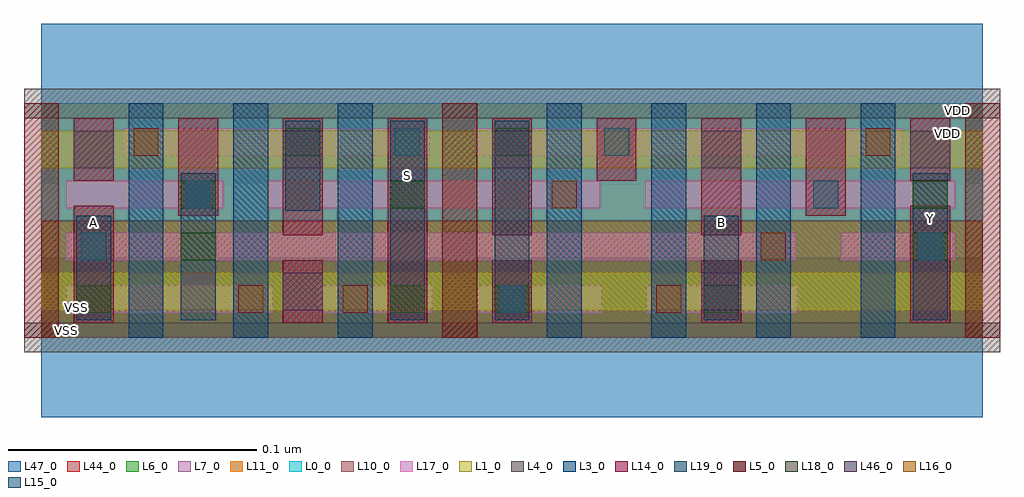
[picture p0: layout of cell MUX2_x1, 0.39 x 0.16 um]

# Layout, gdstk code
import gdstk
lib = gdstk.Library(unit=1e-6, precision=5e-10)
def R(c, l, rs):  # rectangles x0, y0, x1, y1
    for r in rs: c.add(gdstk.rectangle(r[:2], r[2:], *l))
def A(c, l, x, y, w, h, nx, ny, dx, dy):  # array of equal rectangles
    R(c, l, [(x+i*dx, y+j*dy, x+i*dx+w, y+j*dy+h) for i in range(nx) for j in range(ny)])
L0_0 = (0, 0)
L1_0 = (1, 0)
L3_0 = (3, 0)
L4_0 = (4, 0)
L5_0 = (5, 0)
L6_0 = (6, 0)
L7_0 = (7, 0)
L10_0 = (10, 0)
L11_0 = (11, 0)
L14_0 = (14, 0)
L15_0 = (15, 0)
L16_0 = (16, 0)
L17_0 = (17, 0)
L18_0 = (18, 0)
L19_0 = (19, 0)
L44_0 = (44, 0)
L46_0 = (46, 0)
L47_0 = (47, 0)

mux2_x1 = lib.new_cell('MUX2_x1')
R(mux2_x1, L0_0, [(0,0.047,0.378,0.094)])
R(mux2_x1, L1_0, [(0,0.011,0.378,0.026), (0,0.068,0.378,0.083)])
A(mux2_x1, L3_0, 0.035, 0, 0.014, 0.094, 3, 1, 0.042, 0)
A(mux2_x1, L3_0, 0.203, 0, 0.014, 0.094, 4, 1, 0.042, 0)
R(mux2_x1, L4_0, [(-0.007,-0.006,0.385,0.006), (-0.007,0.088,0.385,0.1)])
R(mux2_x1, L5_0, [(-0.007,0,0.007,0.094), (0.161,0,0.175,0.094), (0.371,0,0.385,0.094)])
R(mux2_x1, L6_0, [(0,0,0.378,0.047)])
R(mux2_x1, L7_0, [(0,0.047,0.378,0.094)])
R(mux2_x1, L10_0, [(0,0,0.378,0.047)])
R(mux2_x1, L11_0, [(0,0.047,0.378,0.094)])
A(mux2_x1, L14_0, 0.097, 0.006, 0.016, 0.025, 3, 1, 0.084, 0)
A(mux2_x1, L14_0, 0.097, 0.041, 0.016, 0.047, 3, 1, 0.084, 0)
R(mux2_x1, L14_0, [(0.013,0.006,0.029,0.053), (0.139,0.006,0.155,0.088), (0.349,0.006,0.365,0.053), (0.055,0.049,0.071,0.088), (0.307,0.049,0.323,0.088), (0.013,0.063,0.029,0.088), (0.223,0.063,0.239,0.088), (0.349,0.063,0.365,0.088)])
R(mux2_x1, L15_0, [(0.184,0.01,0.194,0.021), (0.016,0.031,0.026,0.042), (0.352,0.031,0.362,0.042), (0.058,0.052,0.068,0.063), (0.31,0.052,0.32,0.063), (0.142,0.073,0.152,0.084), (0.226,0.073,0.236,0.084)])
R(mux2_x1, L16_0, [(0.079,0.01,0.089,0.021), (0.121,0.01,0.131,0.021), (0.247,0.01,0.257,0.021), (0.289,0.031,0.299,0.042), (0.205,0.052,0.215,0.063), (0.037,0.073,0.047,0.084), (0.331,0.073,0.341,0.084)])
R(mux2_x1, L17_0, [(0.01,0.01,0.093,0.021), (0.111,0.01,0.157,0.021), (0.175,0.01,0.225,0.021), (0.243,0.01,0.3035,0.021), (0.01,0.031,0.2255,0.042), (0.01,0.031,0.303,0.042), (0.321,0.031,0.367,0.042), (0.01,0.052,0.073,0.063), (0.091,0.052,0.2245,0.063), (0.2425,0.052,0.367,0.063), (0.033,0.073,0.0935,0.084), (0.0905,0.073,0.156,0.084), (0.174,0.073,0.321,0.084), (0.321,0.073,0.346,0.084)])
R(mux2_x1, L18_0, [(0.014,0.01,0.028,0.021), (0.14,0.01,0.154,0.021), (0.182,0.01,0.196,0.021), (0.266,0.01,0.28,0.021), (0.056,0.031,0.07,0.042), (0.056,0.031,0.07,0.042), (0.35,0.031,0.364,0.042), (0.056,0.052,0.07,0.063), (0.14,0.052,0.154,0.063), (0.35,0.052,0.364,0.063), (0.098,0.073,0.112,0.084), (0.182,0.073,0.196,0.084)])
R(mux2_x1, L19_0, [(0.014,0.007,0.028,0.049), (0.056,0.007,0.07,0.066), (0.14,0.007,0.154,0.087), (0.182,0.007,0.196,0.087), (0.266,0.007,0.28,0.049), (0.35,0.007,0.364,0.066), (0.098,0.051,0.112,0.087)])
R(mux2_x1, L44_0, [(0,0,0.378,0.094)])
A(mux2_x1, L46_0, 0.013, 0.068, 0.016, 0.015, 5, 1, 0.084, 0)
R(mux2_x1, L46_0, [(0.097,0.011,0.113,0.026), (0.265,0.011,0.281,0.026)])
R(mux2_x1, L47_0, [(0,-0.032,0.378,0.032), (0,0.062,0.378,0.126)])
mux2_x1.add(gdstk.Label('VDD', (0.368,0.091), layer=0, texttype=2))
mux2_x1.add(gdstk.Label('A', (0.021,0.046), layer=19, texttype=2))
mux2_x1.add(gdstk.Label('B', (0.273,0.046), layer=19, texttype=2))
mux2_x1.add(gdstk.Label('S', (0.147,0.065), layer=19, texttype=2))
mux2_x1.add(gdstk.Label('Y', (0.357,0.048), layer=19, texttype=2))
mux2_x1.add(gdstk.Label('VSS', (0.01,0.003), layer=54, texttype=2))
mux2_x1.add(gdstk.Label('VSS', (0.014,0.012), layer=47, texttype=2))
mux2_x1.add(gdstk.Label('VDD', (0.364,0.082), layer=47, texttype=2))

lib.write_gds('MUX2_x1.gds')
